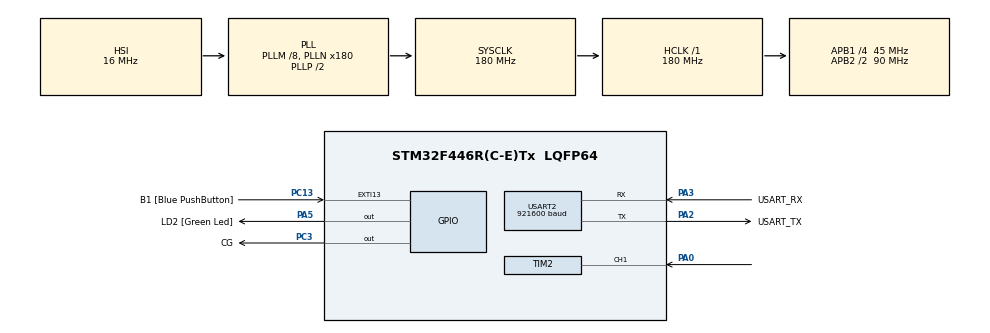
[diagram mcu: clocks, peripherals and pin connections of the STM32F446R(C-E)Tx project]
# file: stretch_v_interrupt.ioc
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Mcu.Family=STM32F4
Mcu.Name=STM32F446R(C-E)Tx
Mcu.Package=LQFP64
NVIC.PriorityGroup=NVIC_PRIORITYGROUP_0
NVIC.TIM2_IRQn=true\:0\:0\:false\:false\:true\:true\:true\:true
NVIC.TIM4_IRQn=true\:0\:0\:false\:false\:true\:true\:true\:true
PA0-WKUP.GPIO_Speed=GPIO_SPEED_FREQ_VERY_HIGH
PA0-WKUP.Signal=S_TIM2_CH1_ETR
PA13.GPIO_Label=TMS
PA13.Mode=Serial_Wire
PA13.Signal=SYS_JTMS-SWDIO
PA14.GPIO_Label=TCK
PA14.Mode=Serial_Wire
PA14.Signal=SYS_JTCK-SWCLK
PA2.GPIO_Label=USART_TX
PA2.Mode=Asynchronous
PA2.Signal=USART2_TX
PA3.GPIO_Label=USART_RX
PA3.Mode=Asynchronous
PA3.Signal=USART2_RX
PA5.GPIO_Label=LD2 [Green Led]
PA5.Signal=GPIO_Output
PB3.GPIO_Label=SWO
PB3.Signal=SYS_JTDO-SWO
PC13.GPIO_Label=B1 [Blue PushButton]
PC13.GPIO_ModeDefaultEXTI=GPIO_MODE_IT_FALLING
PC13.GPIO_PuPd=GPIO_NOPULL
PC13.Signal=GPXTI13
PC14-OSC32_IN.Mode=LSE-External-Oscillator
PC14-OSC32_IN.Signal=RCC_OSC32_IN
PC15-OSC32_OUT.Mode=LSE-External-Oscillator
PC15-OSC32_OUT.Signal=RCC_OSC32_OUT
PC3.GPIO_Label=CG
PC3.GPIO_PuPd=GPIO_NOPULL
PC3.GPIO_Speed=GPIO_SPEED_FREQ_VERY_HIGH
PC3.Signal=GPIO_Output
PH0-OSC_IN.Mode=HSE-External-Oscillator
PH0-OSC_IN.Signal=RCC_OSC_IN
PH1-OSC_OUT.Mode=HSE-External-Oscillator
PH1-OSC_OUT.Signal=RCC_OSC_OUT
ProjectManager.HeapSize=0x200
ProjectManager.StackSize=0x400
ProjectManager.TargetToolchain=STM32CubeIDE
RCC.48MHZClocksFreq_Value=84000000
RCC.AHBFreq_Value=180000000
RCC.APB1CLKDivider=RCC_HCLK_DIV4
RCC.APB1Freq_Value=45000000
RCC.APB1TimFreq_Value=90000000
RCC.APB2CLKDivider=RCC_HCLK_DIV2
RCC.APB2Freq_Value=90000000
RCC.APB2TimFreq_Value=180000000
RCC.CortexFreq_Value=180000000
RCC.FLatency-AdvancedSettings=FLASH_LATENCY_5
RCC.HCLKFreq_Value=180000000
RCC.HSE_VALUE=8000000
RCC.HSI_VALUE=16000000
RCC.PLLM=8
RCC.PLLN=180
RCC.SYSCLKFreq_VALUE=180000000
RCC.SYSCLKSource=RCC_SYSCLKSOURCE_PLLCLK
RCC.USBFreq_Value=180000000
RCC.VCOOutputFreq_Value=360000000
SH.S_TIM2_CH1_ETR.0=TIM2_CH1,Input_Capture1_from_TI1
TIM2.Channel-Input_Capture1_from_TI1=TIM_CHANNEL_1
TIM2.ICFilter_CH1=5
TIM2.Period=3999999999
TIM2.Prescaler=0
TIM2.TIM_MasterOutputTrigger=TIM_TRGO_UPDATE
TIM4.Period=44999
TIM4.Prescaler=1
TIM4.TIM_MasterOutputTrigger=TIM_TRGO_UPDATE
USART2.BaudRate=921600
USART2.VirtualMode=VM_ASYNC
VP_TIM2_VS_ClockSourceINT.Mode=Internal
VP_TIM4_VS_ClockSourceINT.Mode=Internal
board=NUCLEO-F446RE

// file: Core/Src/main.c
/* USER CODE BEGIN Header */
/**
  ******************************************************************************
  * @file           : main.c
  * @brief          : Main program body
  ******************************************************************************
  * @attention
  *
  * Copyright (c) 2024 STMicroelectronics.
  * All rights reserved.
  *
  * This software is licensed under terms that can be found in the LICENSE file
  * in the root directory of this software component.
  * If no LICENSE file comes with this software, it is provided AS-IS.
  *
  ******************************************************************************
  */
/* USER CODE END Header */
#include "main.h"

/* USER CODE BEGIN Includes */
#include <stdio.h>
#include <inttypes.h>
/* USER CODE END Includes */

/* USER CODE BEGIN PD */
#define SAMPLE_SIZE 300
/* USER CODE END PD */

TIM_HandleTypeDef htim2;
TIM_HandleTypeDef htim4;

UART_HandleTypeDef huart2;

/* USER CODE BEGIN PV */
volatile uint8_t cgFlag = 0;
volatile uint8_t tim4Flag = 0;

static float samples[SAMPLE_SIZE] = {0};
static int index = 0;
static float sum = 0;
float average = 0;

uint32_t count = 0;
float tim4clock = 10000000;
/* USER CODE END PV */

void SystemClock_Config(void);
static void MX_GPIO_Init(void);
static void MX_USART2_UART_Init(void);
static void MX_TIM4_Init(void);
static void MX_TIM2_Init(void);
/* USER CODE BEGIN PFP */
int _write(int file, char* p, int len){
	HAL_UART_Transmit(&huart2, p, len, 1);
	return len;
}
/* USER CODE END PFP */

int main(void)
{

  /* MCU Configuration--------------------------------------------------------*/

  /* Reset of all peripherals, Initializes the Flash interface and the Systick. */
  HAL_Init();

  /* Configure the system clock */
  SystemClock_Config();

  /* Initialize all configured peripherals */
  MX_GPIO_Init();
  MX_USART2_UART_Init();
  MX_TIM4_Init();
  MX_TIM2_Init();
  /* USER CODE BEGIN 2 */
  HAL_TIM_IC_Start_IT(&htim2, TIM_CHANNEL_1);
  HAL_TIM_Base_Start_IT(&htim4);
  /* USER CODE END 2 */

  /* Infinite loop */
  /* USER CODE BEGIN WHILE */
  while (1)
  {
	  if (tim4Flag == 1){
		  tim4Flag = 0;
		  printf("%" PRIu32 "\r\n", count);
		  count = 0;
		  TIM2->CNT = 0;
		  TIM2->CCR1 = 0;
		  HAL_GPIO_WritePin(GPIOC, GPIO_PIN_3, GPIO_PIN_SET);
		  //average = sum / SAMPLE_SIZE;
		  //printf("%.2f\r\n", average);
	  }

	  /*if (cgFlag == 1){
		  // ?��?�� ?��계에?�� �??????????????????�� ?��?��?�� ?��?�� ?���?????????????????
		  sum -= samples[index];
		  // ?�� ?��?�� 추�?
		  samples[index] = count;
		  sum += count;
		  // ?��?�� ?��?��?�� ?��?�� ?��?��?�� ?��?��?��?��
		  index = (index + 1) % SAMPLE_SIZE;
		  cgFlag = 0;
	  }*/

    /* USER CODE END WHILE */

  }
}

void SystemClock_Config(void)
{
  RCC_OscInitTypeDef RCC_OscInitStruct = {0};
  RCC_ClkInitTypeDef RCC_ClkInitStruct = {0};

  /** Configure the main internal regulator output voltage
  */
  __HAL_RCC_PWR_CLK_ENABLE();
  __HAL_PWR_VOLTAGESCALING_CONFIG(PWR_REGULATOR_VOLTAGE_SCALE1);

  /** Initializes the RCC Oscillators according to the specified parameters
  * in the RCC_OscInitTypeDef structure.
  */
  RCC_OscInitStruct.OscillatorType = RCC_OSCILLATORTYPE_HSI;
  RCC_OscInitStruct.HSIState = RCC_HSI_ON;
  RCC_OscInitStruct.HSICalibrationValue = RCC_HSICALIBRATION_DEFAULT;
  RCC_OscInitStruct.PLL.PLLState = RCC_PLL_ON;
  RCC_OscInitStruct.PLL.PLLSource = RCC_PLLSOURCE_HSI;
  RCC_OscInitStruct.PLL.PLLM = 8;
  RCC_OscInitStruct.PLL.PLLN = 180;
  RCC_OscInitStruct.PLL.PLLP = RCC_PLLP_DIV2;
  RCC_OscInitStruct.PLL.PLLQ = 2;
  RCC_OscInitStruct.PLL.PLLR = 2;
  if (HAL_RCC_OscConfig(&RCC_OscInitStruct) != HAL_OK)
  {
    Error_Handler();
  }

  /** Activate the Over-Drive mode
  */
  if (HAL_PWREx_EnableOverDrive() != HAL_OK)
  {
    Error_Handler();
  }

  /** Initializes the CPU, AHB and APB buses clocks
  */
  RCC_ClkInitStruct.ClockType = RCC_CLOCKTYPE_HCLK|RCC_CLOCKTYPE_SYSCLK
                              |RCC_CLOCKTYPE_PCLK1|RCC_CLOCKTYPE_PCLK2;
  RCC_ClkInitStruct.SYSCLKSource = RCC_SYSCLKSOURCE_PLLCLK;
  RCC_ClkInitStruct.AHBCLKDivider = RCC_SYSCLK_DIV1;
  RCC_ClkInitStruct.APB1CLKDivider = RCC_HCLK_DIV4;
  RCC_ClkInitStruct.APB2CLKDivider = RCC_HCLK_DIV2;

  if (HAL_RCC_ClockConfig(&RCC_ClkInitStruct, FLASH_LATENCY_5) != HAL_OK)
  {
    Error_Handler();
  }
}

static void MX_TIM2_Init(void)
{

  TIM_ClockConfigTypeDef sClockSourceConfig = {0};
  TIM_MasterConfigTypeDef sMasterConfig = {0};
  TIM_IC_InitTypeDef sConfigIC = {0};

  htim2.Instance = TIM2;
  htim2.Init.Prescaler = 0;
  htim2.Init.CounterMode = TIM_COUNTERMODE_UP;
  htim2.Init.Period = 3999999999;
  htim2.Init.ClockDivision = TIM_CLOCKDIVISION_DIV1;
  htim2.Init.AutoReloadPreload = TIM_AUTORELOAD_PRELOAD_DISABLE;
  if (HAL_TIM_Base_Init(&htim2) != HAL_OK)
  {
    Error_Handler();
  }
  sClockSourceConfig.ClockSource = TIM_CLOCKSOURCE_INTERNAL;
  if (HAL_TIM_ConfigClockSource(&htim2, &sClockSourceConfig) != HAL_OK)
  {
    Error_Handler();
  }
  if (HAL_TIM_IC_Init(&htim2) != HAL_OK)
  {
    Error_Handler();
  }
  sMasterConfig.MasterOutputTrigger = TIM_TRGO_UPDATE;
  sMasterConfig.MasterSlaveMode = TIM_MASTERSLAVEMODE_DISABLE;
  if (HAL_TIMEx_MasterConfigSynchronization(&htim2, &sMasterConfig) != HAL_OK)
  {
    Error_Handler();
  }
  sConfigIC.ICPolarity = TIM_INPUTCHANNELPOLARITY_RISING;
  sConfigIC.ICSelection = TIM_ICSELECTION_DIRECTTI;
  sConfigIC.ICPrescaler = TIM_ICPSC_DIV1;
  sConfigIC.ICFilter = 5;
  if (HAL_TIM_IC_ConfigChannel(&htim2, &sConfigIC, TIM_CHANNEL_1) != HAL_OK)
  {
    Error_Handler();
  }

}

static void MX_TIM4_Init(void)
{

  TIM_ClockConfigTypeDef sClockSourceConfig = {0};
  TIM_MasterConfigTypeDef sMasterConfig = {0};

  htim4.Instance = TIM4;
  htim4.Init.Prescaler = 1;
  htim4.Init.CounterMode = TIM_COUNTERMODE_UP;
  htim4.Init.Period = 44999;
  htim4.Init.ClockDivision = TIM_CLOCKDIVISION_DIV1;
  htim4.Init.AutoReloadPreload = TIM_AUTORELOAD_PRELOAD_DISABLE;
  if (HAL_TIM_Base_Init(&htim4) != HAL_OK)
  {
    Error_Handler();
  }
  sClockSourceConfig.ClockSource = TIM_CLOCKSOURCE_INTERNAL;
  if (HAL_TIM_ConfigClockSource(&htim4, &sClockSourceConfig) != HAL_OK)
  {
    Error_Handler();
  }
  sMasterConfig.MasterOutputTrigger = TIM_TRGO_UPDATE;
  sMasterConfig.MasterSlaveMode = TIM_MASTERSLAVEMODE_DISABLE;
  if (HAL_TIMEx_MasterConfigSynchronization(&htim4, &sMasterConfig) != HAL_OK)
  {
    Error_Handler();
  }

}

static void MX_USART2_UART_Init(void)
{

  huart2.Instance = USART2;
  huart2.Init.BaudRate = 921600;
  huart2.Init.WordLength = UART_WORDLENGTH_8B;
  huart2.Init.StopBits = UART_STOPBITS_1;
  huart2.Init.Parity = UART_PARITY_NONE;
  huart2.Init.Mode = UART_MODE_TX_RX;
  huart2.Init.HwFlowCtl = UART_HWCONTROL_NONE;
  huart2.Init.OverSampling = UART_OVERSAMPLING_16;
  if (HAL_UART_Init(&huart2) != HAL_OK)
  {
    Error_Handler();
  }

}

static void MX_GPIO_Init(void)
{
  GPIO_InitTypeDef GPIO_InitStruct = {0};

  /* GPIO Ports Clock Enable */
  __HAL_RCC_GPIOC_CLK_ENABLE();
  __HAL_RCC_GPIOH_CLK_ENABLE();
  __HAL_RCC_GPIOA_CLK_ENABLE();
  __HAL_RCC_GPIOB_CLK_ENABLE();

  /*Configure GPIO pin Output Level */
  HAL_GPIO_WritePin(CG_GPIO_Port, CG_Pin, GPIO_PIN_RESET);

  /*Configure GPIO pin Output Level */
  HAL_GPIO_WritePin(LD2_GPIO_Port, LD2_Pin, GPIO_PIN_RESET);

  /*Configure GPIO pin : B1_Pin */
  GPIO_InitStruct.Pin = B1_Pin;
  GPIO_InitStruct.Mode = GPIO_MODE_IT_FALLING;
  GPIO_InitStruct.Pull = GPIO_NOPULL;
  HAL_GPIO_Init(B1_GPIO_Port, &GPIO_InitStruct);

  /*Configure GPIO pin : CG_Pin */
  GPIO_InitStruct.Pin = CG_Pin;
  GPIO_InitStruct.Mode = GPIO_MODE_OUTPUT_PP;
  GPIO_InitStruct.Pull = GPIO_NOPULL;
  GPIO_InitStruct.Speed = GPIO_SPEED_FREQ_VERY_HIGH;
  HAL_GPIO_Init(CG_GPIO_Port, &GPIO_InitStruct);

  /*Configure GPIO pin : LD2_Pin */
  GPIO_InitStruct.Pin = LD2_Pin;
  GPIO_InitStruct.Mode = GPIO_MODE_OUTPUT_PP;
  GPIO_InitStruct.Pull = GPIO_NOPULL;
  GPIO_InitStruct.Speed = GPIO_SPEED_FREQ_LOW;
  HAL_GPIO_Init(LD2_GPIO_Port, &GPIO_InitStruct);

}

/* USER CODE BEGIN 4 */
void HAL_TIM_PeriodElapsedCallback(TIM_HandleTypeDef *htim){
	if(htim->Instance==TIM4){
		tim4Flag = 1;
	}
}

void HAL_TIM_IC_CaptureCallback(TIM_HandleTypeDef *htim){
	if (htim->Instance == TIM2 && htim->Channel == HAL_TIM_ACTIVE_CHANNEL_1)
	{
		HAL_GPIO_WritePin(GPIOC, GPIO_PIN_3, GPIO_PIN_RESET);
		count = TIM2->CCR1;
		//TIM4->CNT = 0;
		printf("H");
	}
	/*else if (htim->Instance == TIM4 && htim->Channel == HAL_TIM_ACTIVE_CHANNEL_2){
		TIM4->CNT = 0;
		HAL_GPIO_WritePin(GPIOC, GPIO_PIN_3, GPIO_PIN_SET);
		//printf("L");
	}*/
}
/* USER CODE END 4 */

void Error_Handler(void)
{
  __disable_irq();
  while (1)
  {
  }
}
